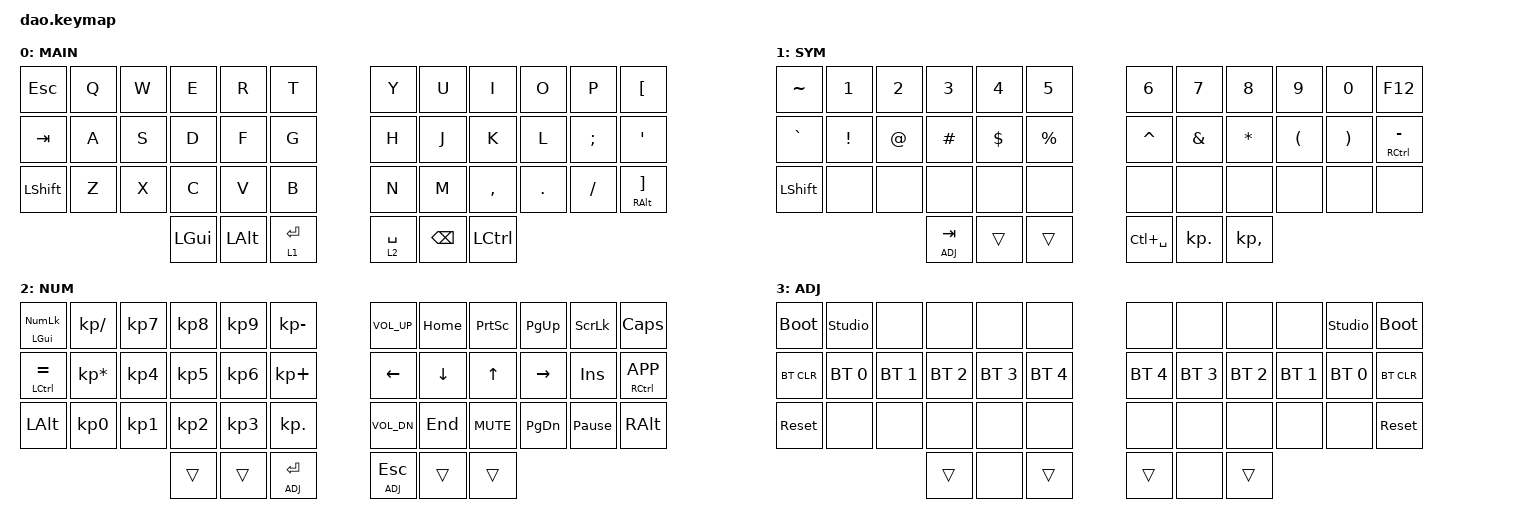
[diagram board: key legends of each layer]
/*
 * Copyright (c) 2021 Rafael Yumagulov
 *
 * SPDX-License-Identifier: MIT
 */

#include <behaviors.dtsi>
#include <dt-bindings/zmk/bt.h>
#include <dt-bindings/zmk/keys.h>

#define DEF 0
#define LWR 1
#define RSE 2
#define ADJ 3

&lt { quick_tap_ms = <200>; };

&mt { quick_tap_ms = <200>; };

/ {
    chosen {
        zmk,physical_layout = &dao_crkbd_layout;

        // zmk,physical_layout = &dao_full_layout;
    };
};

/ {
    combos {
        compatible = "zmk,combos";

        lpar {
            bindings = <&kp LPAR>;
            key-positions = <4 5>;
        };

        rpar {
            bindings = <&kp RPAR>;
            key-positions = <6 7>;
        };

        lbkt {
            bindings = <&kp LBKT>;
            key-positions = <16 17>;
        };

        rbkt {
            bindings = <&kp RBKT>;
            key-positions = <18 19>;
        };

        lbrc {
            bindings = <&kp LBRC>;
            key-positions = <28 29>;
        };

        rbrc {
            bindings = <&kp RBRC>;
            key-positions = <30 31>;
        };

        minus {
            bindings = <&kp MINUS>;
            key-positions = <3 4>;
        };

        plus {
            bindings = <&kp PLUS>;
            key-positions = <2 3>;
        };

        dqt {
            bindings = <&kp DQT>;
            key-positions = <15 16>;
        };

        under {
            bindings = <&kp UNDER>;
            key-positions = <7 8>;
        };

        pipe {
            bindings = <&kp PIPE>;
            key-positions = <8 9>;
        };

        sqt {
            bindings = <&kp SQT>;
            key-positions = <19 20>;
        };

        tilde {
            bindings = <&kp TILDE>;
            key-positions = <0 12>;
        };

        backtick {
            bindings = <&kp GRAVE>;
            key-positions = <24 12>;
        };
    };

    keymap {
        compatible = "zmk,keymap";

        default_layer {
            display-name = "MAIN";
            bindings = <
&kp ESC         &kp Q  &kp W  &kp E     &kp R         &kp T      &kp Y        &kp U          &kp I      &kp O    &kp P     &kp LBKT
&kp TAB         &kp A  &kp S  &kp D     &kp F         &kp G      &kp H        &kp J          &kp K      &kp L    &kp SEMI  &kp SQT
&kp LEFT_SHIFT  &kp Z  &kp X  &kp C     &kp V         &kp B      &kp N        &kp M          &kp COMMA  &kp DOT  &kp FSLH  &mt RALT RBKT
                              &kp LGUI  &kp LEFT_ALT  &lt 1 RET  &lt 2 SPACE  &kp BACKSPACE  &kp LCTRL
            >;
        };

        lower_layer {
            display-name = "SYM";
            bindings = <
&kp TILDE   &kp NUMBER_1  &kp NUMBER_2  &kp NUMBER_3  &kp NUMBER_4  &kp N5     &kp NUMBER_6   &kp N7      &kp N8        &kp N9    &kp N0    &kp F12
&kp GRAVE   &kp EXCL      &kp AT        &kp HASH      &kp DLLR      &kp PRCNT  &kp CARET      &kp AMPS    &kp STAR      &kp LPAR  &kp RPAR  &mt RCTRL MINUS
&kp LSHIFT  &none         &none         &none         &none         &none      &none          &none       &none         &none     &none     &none
                                        &lt ADJ TAB   &trans        &trans     &kp LC(SPACE)  &kp KP_DOT  &kp KP_COMMA
            >;
        };

        raise_layer {
            display-name = "NUM";
            bindings = <
&mt LGUI KP_NUM  &kp KP_SLASH     &kp KP_N7  &kp KP_N8  &kp KP_N9  &kp KP_MINUS  &kp C_VOL_UP  &kp HOME  &kp PSCRN   &kp PG_UP  &kp SLCK         &kp CLCK
&mt LCTRL EQUAL  &kp KP_MULTIPLY  &kp KP_N4  &kp KP_N5  &kp KP_N6  &kp KP_PLUS   &kp LEFT      &kp DOWN  &kp UP      &kp RIGHT  &kp INS          &mt RCTRL K_APP
&kp LALT         &kp KP_N0        &kp KP_N1  &kp KP_N2  &kp KP_N3  &kp KP_DOT    &kp C_VOL_DN  &kp END   &kp K_MUTE  &kp PG_DN  &kp PAUSE_BREAK  &kp RALT
                                             &trans     &trans     &lt ADJ RET   &lt ADJ ESC   &trans    &trans
            >;
        };

        adjust_layer {
            display-name = "ADJ";
            bindings = <
&bootloader  &studio_unlock  &none         &none         &none         &none         &none         &none         &none         &none         &studio_unlock  &bootloader
&bt BT_CLR   &bt BT_SEL 0    &bt BT_SEL 1  &bt BT_SEL 2  &bt BT_SEL 3  &bt BT_SEL 4  &bt BT_SEL 4  &bt BT_SEL 3  &bt BT_SEL 2  &bt BT_SEL 1  &bt BT_SEL 0    &bt BT_CLR
&sys_reset   &none           &none         &none         &none         &none         &none         &none         &none         &none         &none           &sys_reset
                                           &trans        &none         &trans        &trans        &none         &trans
            >;
        };
    };
};
